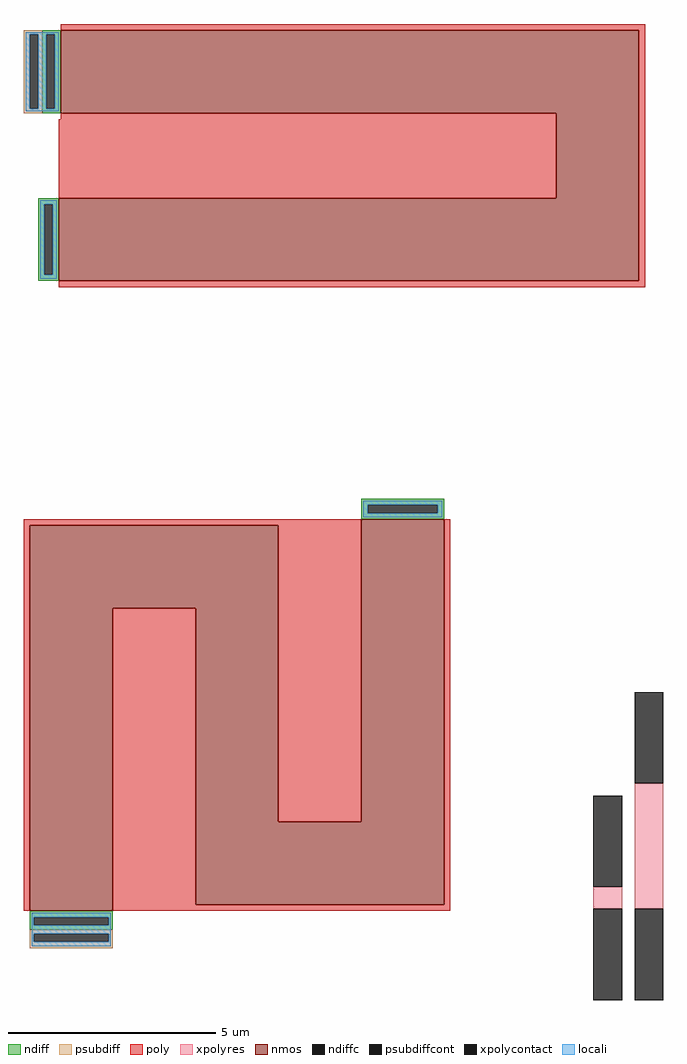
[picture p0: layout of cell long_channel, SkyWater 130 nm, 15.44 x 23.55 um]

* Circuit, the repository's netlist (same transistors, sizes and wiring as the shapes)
* SPICE3 file created from long_channel.ext - technology: sky130A

.subckt long_channel
X0 a_2770_n3034# a_2770_n4080# a_n180_200# sky130_fd_pr__res_xhigh_po_0p69 l=3.19
X1 a_n180_200# a_n10_n640# a_n110_n610# a_n180_200# sky130_fd_pr__nfet_01v8 ad=0.9 pd=4.9 as=1 ps=5 w=2 l=30
X2 a_2570_n3534# a_2570_n4080# a_n180_200# sky130_fd_pr__res_xhigh_po_0p69 l=0.69
X3 a_1450_n1760# a_n180_n3650# a_n180_200# a_n180_200# sky130_fd_pr__nfet_01v8 ad=1 pd=5 as=0.9 ps=4.9 w=2 l=31.75
.ends

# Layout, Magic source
magic
tech sky130A
magscale 1 2
<< nmos >>
rect 0 200 2790 600
rect 2390 -210 2790 200
rect -10 -610 2790 -210
rect -150 -2190 1050 -1790
rect -150 -3650 250 -2190
rect 650 -3220 1050 -2190
rect 1450 -3220 1850 -1760
rect 650 -3620 1850 -3220
<< ndiff >>
rect -90 580 0 600
rect -90 220 -70 580
rect -30 220 0 580
rect -90 200 0 220
rect -110 -240 -10 -210
rect -110 -580 -80 -240
rect -40 -580 -10 -240
rect -110 -610 -10 -580
rect 1450 -1690 1850 -1660
rect 1450 -1730 1480 -1690
rect 1820 -1730 1850 -1690
rect 1450 -1760 1850 -1730
rect -150 -3680 250 -3650
rect -150 -3720 -130 -3680
rect 230 -3720 250 -3680
rect -150 -3740 250 -3720
<< ndiffc >>
rect -70 220 -30 580
rect -80 -580 -40 -240
rect 1480 -1730 1820 -1690
rect -130 -3720 230 -3680
<< psubdiff >>
rect -180 580 -90 600
rect -180 220 -150 580
rect -110 220 -90 580
rect -180 200 -90 220
rect -150 -3760 250 -3740
rect -150 -3800 -130 -3760
rect 230 -3800 250 -3760
rect -150 -3830 250 -3800
<< psubdiffcont >>
rect -150 220 -110 580
rect -130 -3800 230 -3760
<< poly >>
rect 0 600 2820 630
rect 0 170 2390 200
rect -10 -210 2390 170
rect 2790 -610 2820 600
rect -10 -640 2820 -610
rect -180 -1790 1450 -1760
rect -180 -3650 -150 -1790
rect 250 -3620 650 -2190
rect 1050 -3220 1450 -1790
rect 1850 -3620 1880 -1760
rect 250 -3650 1880 -3620
<< xpolycontact >>
rect 2770 -3034 2908 -2594
rect 2570 -3534 2708 -3094
rect 2570 -4080 2708 -3640
rect 2770 -4080 2908 -3640
<< xpolyres >>
rect 2570 -3640 2708 -3534
rect 2770 -3640 2908 -3034
<< locali >>
rect -170 580 -10 590
rect -170 220 -150 580
rect -110 220 -70 580
rect -30 220 -10 580
rect -170 210 -10 220
rect -100 -240 -20 -220
rect -100 -580 -80 -240
rect -40 -580 -20 -240
rect -100 -600 -20 -580
rect 1460 -1690 1840 -1670
rect 1460 -1730 1480 -1690
rect 1820 -1730 1840 -1690
rect 1460 -1750 1840 -1730
rect -140 -3680 240 -3660
rect -140 -3720 -130 -3680
rect 230 -3720 240 -3680
rect -140 -3760 240 -3720
rect -140 -3800 -130 -3760
rect 230 -3800 240 -3760
rect -140 -3820 240 -3800
<< end >>
